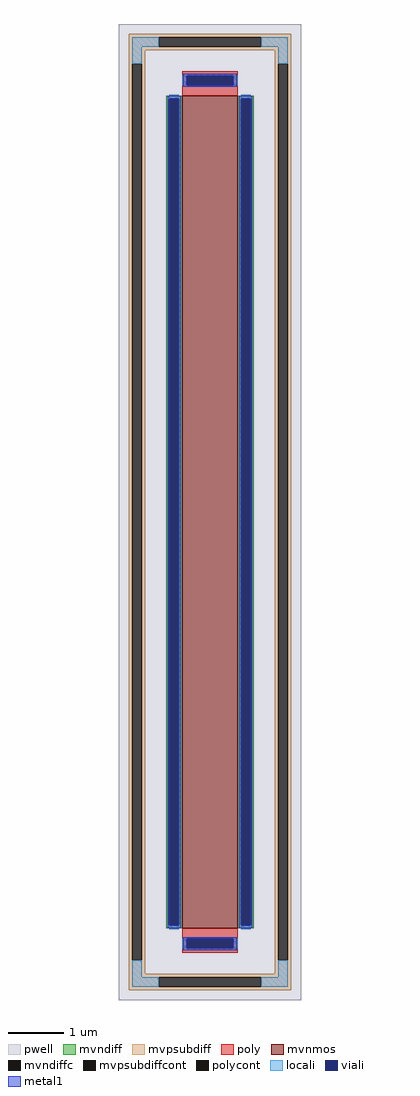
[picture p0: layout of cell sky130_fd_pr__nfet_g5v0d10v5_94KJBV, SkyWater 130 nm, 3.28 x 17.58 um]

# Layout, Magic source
magic
tech sky130A
<< pwell >>
rect -164 -879 164 879
<< mvnmos >>
rect -50 -750 50 750
<< mvndiff >>
rect -79 744 -50 750
rect -79 -744 -73 744
rect -56 -744 -50 744
rect -79 -750 -50 -744
rect 50 744 79 750
rect 50 -744 56 744
rect 73 -744 79 744
rect 50 -750 79 -744
<< mvndiffc >>
rect -73 -744 -56 744
rect 56 -744 73 744
<< mvpsubdiff >>
rect -146 855 146 861
rect -146 838 -92 855
rect 92 838 146 855
rect -146 832 146 838
rect -146 807 -117 832
rect -146 -807 -140 807
rect -123 -807 -117 807
rect 117 807 146 832
rect -146 -832 -117 -807
rect 117 -807 123 807
rect 140 -807 146 807
rect 117 -832 146 -807
rect -146 -838 146 -832
rect -146 -855 -92 -838
rect 92 -855 146 -838
rect -146 -861 146 -855
<< mvpsubdiffcont >>
rect -92 838 92 855
rect -140 -807 -123 807
rect 123 -807 140 807
rect -92 -855 92 -838
<< poly >>
rect -50 786 50 794
rect -50 769 -42 786
rect 42 769 50 786
rect -50 750 50 769
rect -50 -769 50 -750
rect -50 -786 -42 -769
rect 42 -786 50 -769
rect -50 -794 50 -786
<< polycont >>
rect -42 769 42 786
rect -42 -786 42 -769
<< locali >>
rect -140 838 -92 855
rect 92 838 140 855
rect -140 807 -123 838
rect 123 807 140 838
rect -50 769 -42 786
rect 42 769 50 786
rect -73 744 -56 752
rect -73 -752 -56 -744
rect 56 744 73 752
rect 56 -752 73 -744
rect -50 -786 -42 -769
rect 42 -786 50 -769
rect -140 -838 -123 -807
rect 123 -838 140 -807
rect -140 -855 -92 -838
rect 92 -855 140 -838
<< viali >>
rect -42 769 42 786
rect -73 -744 -56 744
rect 56 -744 73 744
rect -42 -786 42 -769
<< metal1 >>
rect -48 786 48 789
rect -48 769 -42 786
rect 42 769 48 786
rect -48 766 48 769
rect -76 744 -53 750
rect -76 -744 -73 744
rect -56 -744 -53 744
rect -76 -750 -53 -744
rect 53 744 76 750
rect 53 -744 56 744
rect 73 -744 76 744
rect 53 -750 76 -744
rect -48 -769 48 -766
rect -48 -786 -42 -769
rect 42 -786 48 -769
rect -48 -789 48 -786
<< properties >>
string FIXED_BBOX -131 -846 131 846
string gencell sky130_fd_pr__nfet_g5v0d10v5
string library sky130
string parameters w 15 l 1 m 1 nf 1 diffcov 100 polycov 100 guard 1 glc 1 grc 1 gtc 1 gbc 1 tbcov 100 rlcov 100 topc 1 botc 1 poverlap 0 doverlap 1 lmin 0.50 wmin 0.42 class mosfet compatible {sky130_fd_pr__nfet_01v8 sky130_fd_pr__nfet_01v8_lvt  sky130_fd_bs_flash__special_sonosfet_star  sky130_fd_pr__nfet_g5v0d10v5 sky130_fd_pr__nfet_05v0_nvt  sky130_fd_pr__nfet_03v3_nvt} full_metal 1 viasrc 100 viadrn 100 viagate 100 viagb 0 viagr 0 viagl 0 viagt 0
string sky130_fd_pr__nfet_g5v0d10v5_94KJBV parameters
<< end >>
